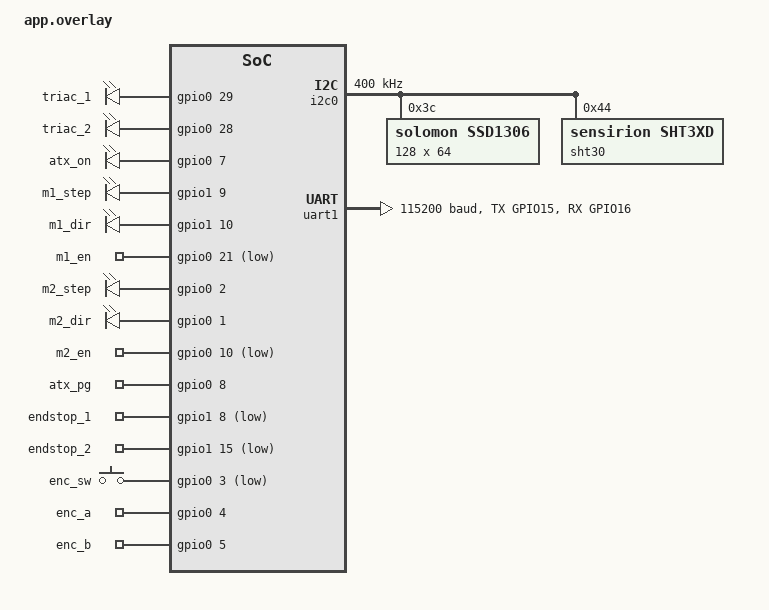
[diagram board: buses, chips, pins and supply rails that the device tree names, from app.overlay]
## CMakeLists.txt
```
cmake_minimum_required(VERSION 3.20.0)
find_package(Zephyr REQUIRED HINTS $ENV{ZEPHYR_BASE})
project(electrospinning_device)

target_sources(app PRIVATE
    src/main.c
    src/core0_comms.c
    src/core1_control.c
)
```

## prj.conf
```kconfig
# Hardware Drivers and Peripherals
CONFIG_GPIO=y
CONFIG_I2C=y
CONFIG_SENSOR=y
CONFIG_SHT3XD=y
CONFIG_DISPLAY=y
CONFIG_SSD1306=y
CONFIG_SERIAL=y
CONFIG_UART_ASYNC_API=y
```

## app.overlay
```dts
/ {
    aliases {
        triac1 = &triac_1;
        triac2 = &triac_2;
        atxon = &atx_on;
        atxpg = &atx_pg;
        endstop1 = &endstop_1;
        endstop2 = &endstop_2;
        encsw = &enc_sw;
        enca = &enc_a;
        encb = &enc_b;
        m1-step = &m1_step;
        m1-dir = &m1_dir;
        m1-en = &m1_en;
        m2-step = &m2_step;
        m2-dir = &m2_dir;
        m2-en = &m2_en;
    };

    custom_outputs {
        compatible = "gpio-leds";

        triac_1: triac_1 {
            gpios = <&gpio0 29 GPIO_ACTIVE_HIGH>;
        };
        triac_2: triac_2 {
            gpios = <&gpio0 28 GPIO_ACTIVE_HIGH>;
        };

        atx_on: atx_on {
            gpios = <&gpio0 7 GPIO_ACTIVE_HIGH>;
        };

        m1_step: m1_step {
            gpios = <&gpio1 9 GPIO_ACTIVE_HIGH>;
        };
        m1_dir: m1_dir {
            gpios = <&gpio1 10 GPIO_ACTIVE_HIGH>;
        };
        m1_en: m1_en {
            gpios = <&gpio0 21 GPIO_ACTIVE_LOW>;
        };

        m2_step: m2_step {
            gpios = <&gpio0 2 GPIO_ACTIVE_HIGH>;
        };
        m2_dir: m2_dir {
            gpios = <&gpio0 1 GPIO_ACTIVE_HIGH>;
        };
        m2_en: m2_en {
            gpios = <&gpio0 10 GPIO_ACTIVE_LOW>;
        };
    };

    custom_inputs {
        compatible = "gpio-keys";

        atx_pg: atx_pg {
            gpios = <&gpio0 8 GPIO_ACTIVE_HIGH>;
        };

        endstop_1: endstop_1 {
            gpios = <&gpio1 8 GPIO_ACTIVE_LOW>;
        };
        endstop_2: endstop_2 {
            gpios = <&gpio1 15 GPIO_ACTIVE_LOW>;
        };

        enc_sw: enc_sw {
            gpios = <&gpio0 3 (GPIO_ACTIVE_LOW | GPIO_PULL_UP)>;
        };
        enc_a: enc_a {
            gpios = <&gpio0 4 GPIO_ACTIVE_HIGH>;
        };
        enc_b: enc_b {
            gpios = <&gpio0 5 GPIO_ACTIVE_HIGH>;
        };
    };
};

&pinctrl {
    i2c0_default: i2c0_default {
        group1 {
            pinmux = <I2C0_SDA_GPIO17>, <I2C0_SCL_GPIO18>;
            bias-pull-up;
            drive-open-drain;
            output-high;
        };
    };

    uart1_default: uart1_default {
        group1 {
            pinmux = <UART1_TX_GPIO15>, <UART1_RX_GPIO16>;
        };
    };
};

&i2c0 {
    status = "okay";
    pinctrl-0 = <&i2c0_default>;
    pinctrl-names = "default";
    clock-frequency = <I2C_BITRATE_FAST>;

    ssd1306: ssd1306@3c {
        compatible = "solomon,ssd1306";
        reg = <0x3c>;
        width = <128>;
        height = <64>;
        segment-offset = <0>;
        page-offset = <0>;
        display-offset = <0>;
        multiplex-ratio = <63>;
        segment-remap;
        com-invdir;
        prechargep = <0x22>;
    };

    sht30: sht30@44 {
        compatible = "sensirion,sht3xd";
        reg = <0x44>;
    };
};

&uart1 {
    status = "okay";
    pinctrl-0 = <&uart1_default>;
    pinctrl-names = "default";
    current-speed = <115200>;
};
```

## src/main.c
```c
#include <zephyr/kernel.h>
#include <zephyr/sys/printk.h>

#define STACK_SIZE 2048
#define PRIORITY 5

K_THREAD_STACK_DEFINE(comm_stack, STACK_SIZE);
struct k_thread comm_thread_data;

void comm_entry_point(void *p1, void *p2, void *p3) {
    printk("Communication thread running on primary CPU core\n");
    while (1) {
        k_msleep(1000);
    }
}

int main(void) {
    printk("Starting Electrospinning System on ESP32-S3 (PRO_CPU)...\n");

    k_thread_create(&comm_thread_data, comm_stack,
                    K_THREAD_STACK_SIZEOF(comm_stack),
                    comm_entry_point, NULL, NULL, NULL,
                    PRIORITY, 0, K_NO_WAIT);

    return 0;
}
```

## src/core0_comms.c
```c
#include <zephyr/kernel.h>
#include <zephyr/sys/printk.h>
#include "ipc_events.h"

#define STACK_SIZE 2048
#define PRIORITY 5

K_THREAD_STACK_DEFINE(core0_stack, STACK_SIZE);
struct k_thread core0_thread_data;

void core0_entry_point(void *p1, void *p2, void *p3) {
    printk("[Core 0] Communication task active\n");
    
    app_telemetry_t telemetry;

    while (1) {
        if (k_msgq_get(&telemetry_queue, &telemetry, K_MSEC(500)) == 0) {
            printk("[Core 0] Telemetry received: Temp=%.1f C, Hum=%.1f %%\n",
                   (double)telemetry.temperature, (double)telemetry.humidity);
        }
        k_msleep(100);
    }
}

void init_core0_tasks(void) {
    k_thread_create(&core0_thread_data, core0_stack,
                    K_THREAD_STACK_SIZEOF(core0_stack),
                    core0_entry_point, NULL, NULL, NULL,
                    PRIORITY, 0, K_NO_WAIT);
}
```

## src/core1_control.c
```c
#include <zephyr/kernel.h>
#include <zephyr/sys/printk.h>
#include "ipc_events.h"

#define STACK_SIZE 2048
#define PRIORITY 3

K_THREAD_STACK_DEFINE(core1_stack, STACK_SIZE);
struct k_thread core1_thread_data;

void core1_entry_point(void *p1, void *p2, void *p3) {
    printk("[Core 1] Real-Time Control task active\n");

    app_telemetry_t telemetry = {
        .temperature = 24.5f,
        .humidity = 45.0f,
        .step_count = 0,
        .endstop_1_active = false,
        .atx_power_good = true
    };

    while (1) {
        telemetry.step_count++;
        k_msgq_put(&telemetry_queue, &telemetry, K_NO_WAIT);
        k_msleep(1000);
    }
}

void init_core1_tasks(void) {
    k_thread_create(&core1_thread_data, core1_stack,
                    K_THREAD_STACK_SIZEOF(core1_stack),
                    core1_entry_point, NULL, NULL, NULL,
                    PRIORITY, 0, K_NO_WAIT);
}
```

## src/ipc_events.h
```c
#ifndef IPC_EVENTS_H
#define IPC_EVENTS_H

#include <zephyr/kernel.h>

typedef enum {
    CMD_START_INJECTION,
    CMD_STOP_INJECTION,
    CMD_SET_FLOW_RATE,
    CMD_TOGGLE_220V
} cmd_type_t;  //

typedef struct {
    cmd_type_t type;
    float flow_rate_ml_h;
    uint8_t channel_220v;
    bool state;
} app_command_t;

typedef struct {
    float temperature;
    float humidity;
    uint32_t step_count;
    bool endstop_1_active;
    bool atx_power_good;
} app_telemetry_t;

extern struct k_msgq cmd_queue;
extern struct k_msgq telemetry_queue;

#endif
```
